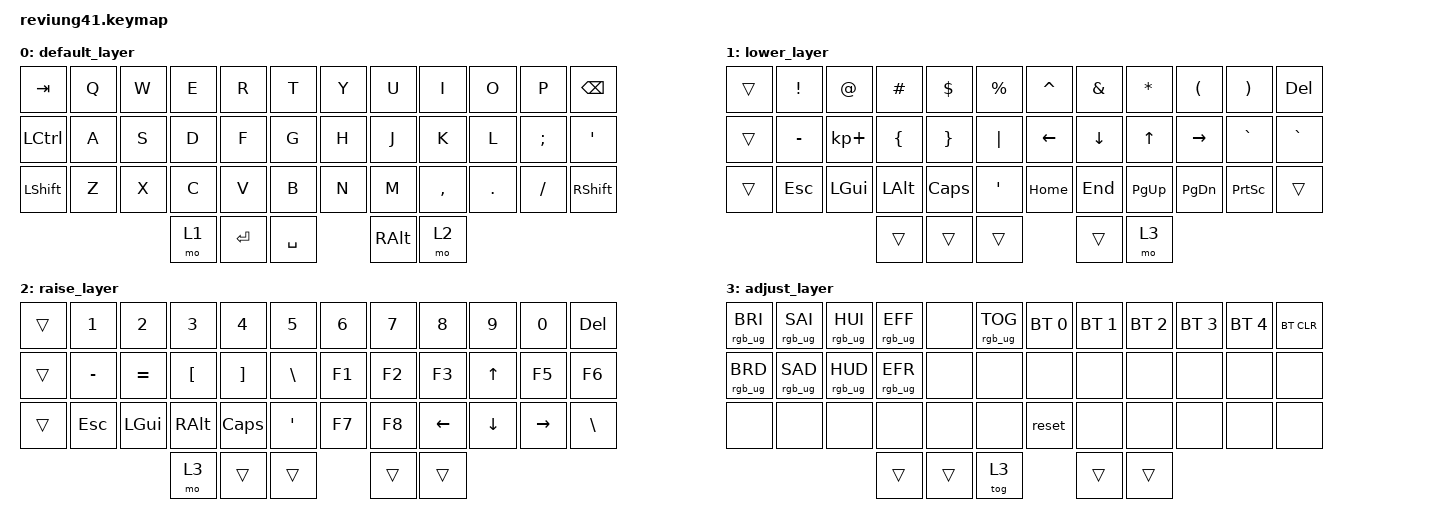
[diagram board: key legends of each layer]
/*
 * Copyright (c) 2020 The ZMK Contributors
 *
 * SPDX-License-Identifier: MIT
 */

#include <behaviors.dtsi>
#include <dt-bindings/zmk/keys.h>
#include <dt-bindings/zmk/bt.h>
#include <dt-bindings/zmk/rgb.h>

#define DEFAULT 0
#define LOWER   1
#define RAISE   2
#define NAVIG   3
#define FUNCT   4
#define ADJST   5

/ {
    behaviors {
        hm: homerow_mods {
            compatible = "zmk,behavior-hold-tap";
            label = "HOMEROW_MODS";
            #binding-cells = <2>;
            tapping-term-ms = <150>;
            quick_tap_ms = <0>;
            flavor = "tap-preferred";
            bindings = <&kp>, <&kp>;
        };
    };

        keymap {
                compatible = "zmk,keymap";

                 default_layer {
// -------------------------------------------------------------------------------------
// |  TAB |  Q  |  W  |  E  |  R  |  T  |   |  Y  |  U   |  I  |  O  |  P  |   BKSP    |
// | CTRL |  A  |  S  |  D  |  F  |  G  |   |  H  |  J   |  K  |  L  |  ;  |    '      |
// | SHFT |  Z  |  X  |  C  |  V  |  B  |   |  N  |  M   |  ,  |  .  |  /  | SHFT(RET) |
//                         | LWR | RET | SPC | ALT  | RSE |
                        bindings = <
   &kp TAB   &kp Q &kp W &kp E &kp R &kp T   &kp Y &kp U  &kp I     &kp O   &kp P    &kp BSPC
   &kp LCTRL &kp A &kp S &kp D &kp F &kp G   &kp H &kp J  &kp K     &kp L   &kp SEMI &kp SQT
   &kp LSHFT &kp Z &kp X &kp C &kp V &kp B   &kp N &kp M  &kp COMMA &kp DOT &kp FSLH &kp RSHFT
                        &mo 1  &kp RET &kp SPACE &kp RALT  &mo 2
                        >;
                };

                lower_layer {
// ----------------------------------------------------------------------------------
// |    |  !  |  @  |  #  |  $  |  %  |   |  ^  |  &  |  *  |  (  |  )  |    DEL    |
// |    |  _  |  +  |  {  |  }  | "|" |   | LFT | DWN |  UP | RGT |  `  |     ~     |
// |    | ESC | GUI | ALT | CAPS|  "  |   | HOME| END | PGUP| PGDN| PRSC| SHFT(RET) |
//                       |     |     | RET | ADJ |     |
                        bindings = <
   &trans &kp EXCL  &kp AT      &kp HASH &kp DLLR &kp PRCNT      &kp CARET &kp AMPS &kp ASTRK    &kp LPAR  &kp RPAR  &kp DEL
   &trans &kp MINUS &kp KP_PLUS &kp LBRC &kp RBRC &kp PIPE       &kp LEFT  &kp DOWN &kp UP    &kp RIGHT &kp GRAVE &kp GRAVE
   &trans &kp ESC   &kp LGUI    &kp LALT &kp CLCK &kp SQT        &kp HOME  &kp END  &kp PG_UP &kp PG_DN &kp PSCRN &trans
                                 &trans      &trans       &trans        &trans       &mo 3
                        >;
                };

                raise_layer {
// -----------------------------------------------------------------------------------------
// |    |  1  |  2  |  3  |  4  |  5  |   |  6  |  7  |  8  |  9  |  0  | DEL |
// |    |  -  |  =  |  [  |  ]  |  \  |   | F1  | F2  | F3  | F4  | F5  | F6  |
// |    | ESC | GUI | ALT | CAPS|  "  |   | F7  | F8  | F9  | F10 | F11 | F12 |
//                       |     | ADJ | BKSP |    |     |
                        bindings = <
   &trans &kp N1    &kp N2    &kp N3    &kp N4    &kp N5        &kp N6    &kp N7    &kp N8    &kp N9    &kp N0    &kp DEL
   &trans &kp MINUS &kp EQUAL &kp LBKT  &kp RBKT  &kp BSLH      &kp F1    &kp F2    &kp F3    &kp UP    &kp F5    &kp F6
   &trans &kp ESC   &kp LGUI  &kp RALT  &kp CLCK  &kp SQT       &kp F7    &kp F8    &kp LEFT    &kp DOWN   &kp RIGHT   &kp BSLH
                                &mo 3      &trans       &trans        &trans      &trans
                        >;
                };

                adjust_layer {
// -----------------------------------------------------------------------------------------
// | RGB BRI+ | RGB SAT+ | RGB HUE+ | RGB ANI+ |    | RGB TOG |   |  BT1  | BT2 | BT3 | BT4 | BT5 | BT CLR |
// | RGB BRI- | RGB SAT- | RGB HUE- | RGB ANI- |    |         |   |       |     |     |     |     |        |
// |          |          |          |          |    |         |   | RESET |     |     |     |     |        |
//                                              |     |     |     |     |     |
                        bindings = <
   &rgb_ug RGB_BRI &rgb_ug RGB_SAI &rgb_ug RGB_HUI &rgb_ug RGB_EFF &none &rgb_ug RGB_TOG    &bt BT_SEL 0 &bt BT_SEL 1 &bt BT_SEL 2 &bt BT_SEL 3 &bt BT_SEL 4 &bt BT_CLR
   &rgb_ug RGB_BRD &rgb_ug RGB_SAD &rgb_ug RGB_HUD &rgb_ug RGB_EFR &none &none              &none        &none        &none        &none        &none        &none
   &none           &none           &none           &none           &none &none              &reset       &none        &none        &none        &none        &none
                                                             &trans      &trans       &tog 3        &trans      &trans
                        >;
                };
        };
};
